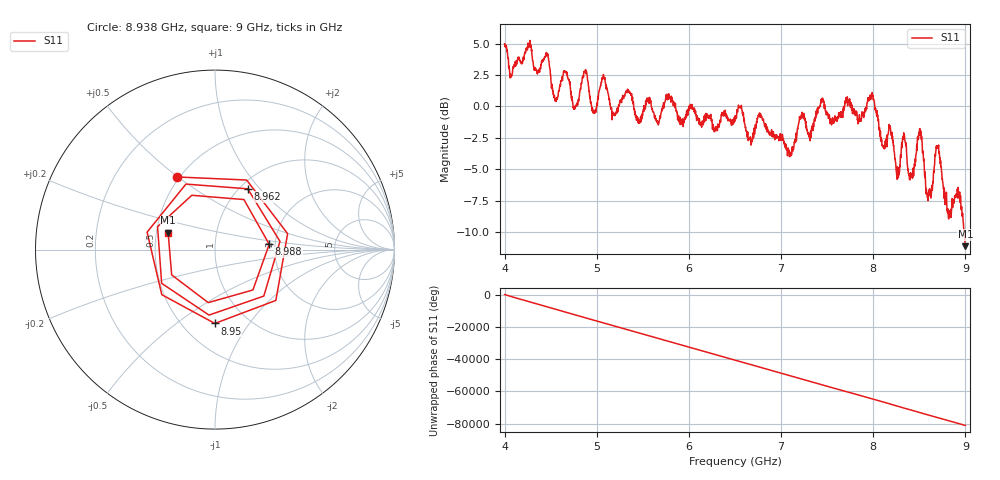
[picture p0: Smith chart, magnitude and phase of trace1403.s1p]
! Created with skrf 1.8.0 (http://scikit-rf.org).
# Hz S RI R 50.0
!freq ReS11 ImS11
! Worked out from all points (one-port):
!   1601 points, 4 GHz to 9 GHz, reference 50 ohm
!   lowest |S11| = -11.1 dB at 9 GHz (marker M1), VSWR 1.77, Z = 28.8 + j5.91 ohm
!   |S11| at or under -10 dB: 8.985237 GHz to end of sweep
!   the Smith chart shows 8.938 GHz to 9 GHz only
!   S11 on the Smith chart (normalised r, x): 8.938 GHz: 0.49, +0.50; 8.95 GHz: 0.71, -0.70; 8.962 GHz: 1.09, +0.86; 8.988 GHz: 1.86, +0.12; 9 GHz: 0.58, +0.12
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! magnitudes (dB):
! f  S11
! 4 GHz  5.0
! 4.069 GHz  2.5
! 4.456 GHz  4.3
! 4.553 GHz  0.4
! 4.625 GHz  2.2
! 4.766 GHz  -0.1
! 4.872 GHz  2.7
! 4.969 GHz  -0.3
! 5.069 GHz  2.4
! 5.25 GHz  0.4
! 5.875 GHz  -0.7
! 6.5 GHz  -1.2
! 7.125 GHz  -3.6
! 7.225 GHz  -0.9
! 7.75 GHz  0.4
! 7.988 GHz  1.1
! 8.106 GHz  -3.2
! 8.334 GHz  -2.3
! 8.375 GHz  -5.1
! 8.506 GHz  -2.0
! 8.597 GHz  -7.0
! 8.694 GHz  -3.3
! 8.822 GHz  -8.3
! 8.938 GHz  -6.8
! 8.95 GHz  -7.7
! 8.962 GHz  -8.3
! 8.988 GHz  -10.4
! 9 GHz  -11.1
